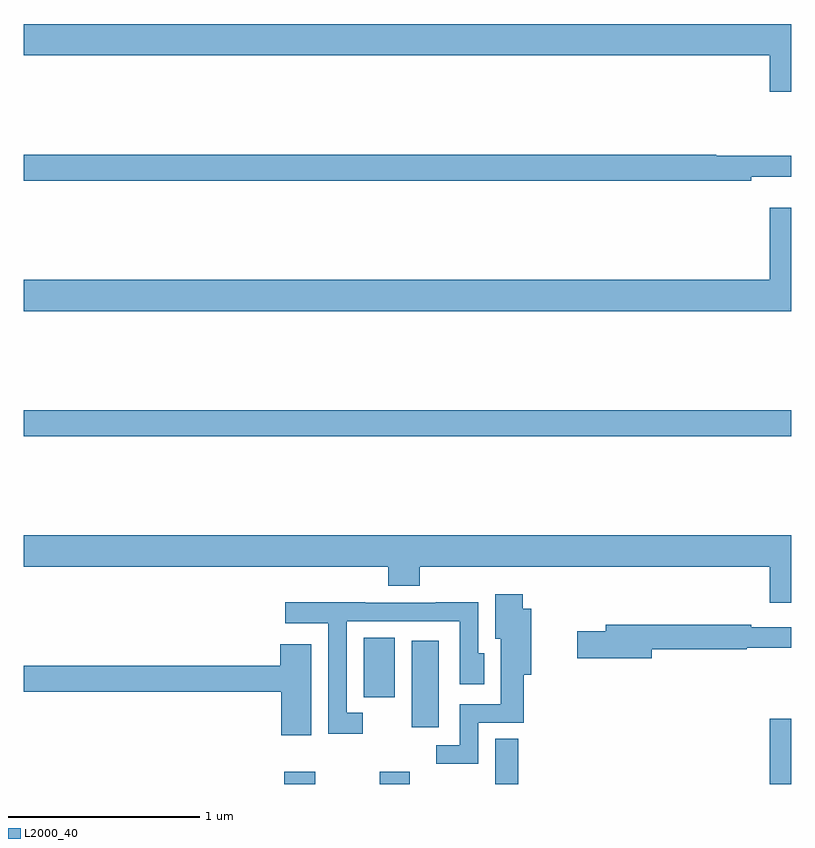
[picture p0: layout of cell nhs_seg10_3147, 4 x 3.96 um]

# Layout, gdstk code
import gdstk
lib = gdstk.Library(unit=1e-6, precision=1e-09)
def R(c, l, rs):  # rectangles x0, y0, x1, y1
    for r in rs: c.add(gdstk.rectangle(r[:2], r[2:], *l))
def P(c, l, *ps):  # polygons
    for p in ps: c.add(gdstk.Polygon(p, *l))
L2000_40 = (2000, 40)

nhs_seg10_3147 = lib.new_cell('nhs_seg10_3147')
R(nhs_seg10_3147, L2000_40, [(282.359,1316.5,282.519,1316.563), (282.856,1316.5,283.011,1316.563), (283.457,1316.5,283.576,1316.735), (284.888,1316.5,285,1316.839), (283.022,1316.796,283.162,1317.247), (282.773,1316.952,282.934,1317.263), (281,1318.312,285,1318.448)])
P(nhs_seg10_3147, L2000_40, [(285,1320.46),(281,1320.46),(281,1320.296),(284.888,1320.296),(284.888,1320.108),(285,1320.108)],
  [(284.792,1319.663),(285,1319.663),(285,1319.773),(284.608,1319.773),(284.608,1319.78),(281,1319.78),(281,1319.644),(284.792,1319.644)],
  [(285,1319.503),(284.888,1319.503),(284.888,1319.128),(281,1319.128),(281,1318.964),(285,1318.964)],
  [(285,1317.796),(281,1317.796),(281,1317.632),(282.899,1317.632),(282.899,1317.533),(283.064,1317.533),(283.064,1317.632),(284.888,1317.632),(284.888,1317.444),(285,1317.444)],
  [(283.368,1316.82),(283.606,1316.82),(283.606,1317.068),(283.645,1317.068),(283.645,1317.412),(283.601,1317.412),(283.601,1317.49),(283.457,1317.49),(283.457,1317.257),(283.487,1317.257),(283.487,1316.916),(283.272,1316.916),(283.272,1316.703),(283.149,1316.703),(283.149,1316.606),(283.368,1316.606)],
  [(282.766,1316.871),(282.684,1316.871),(282.684,1317.348),(283.272,1317.348),(283.272,1317.021),(283.399,1317.021),(283.399,1317.18),(283.368,1317.18),(283.368,1317.446),(283.147,1317.446),(283.147,1317.444),(282.781,1317.444),(282.781,1317.446),(282.363,1317.446),(282.363,1317.338),(282.588,1317.338),(282.588,1316.763),(282.766,1316.763)],
  [(284.272,1317.202),(284.768,1317.202),(284.768,1317.21),(285,1317.21),(285,1317.318),(284.792,1317.318),(284.792,1317.331),(284.033,1317.331),(284.033,1317.297),(283.884,1317.297),(283.884,1317.155),(284.272,1317.155)],
  [(282.499,1317.229),(282.338,1317.229),(282.338,1317.116),(281,1317.116),(281,1316.98),(282.341,1316.98),(282.341,1316.754),(282.499,1316.754)])

lib.write_gds('nhs_seg10_3147.gds')
